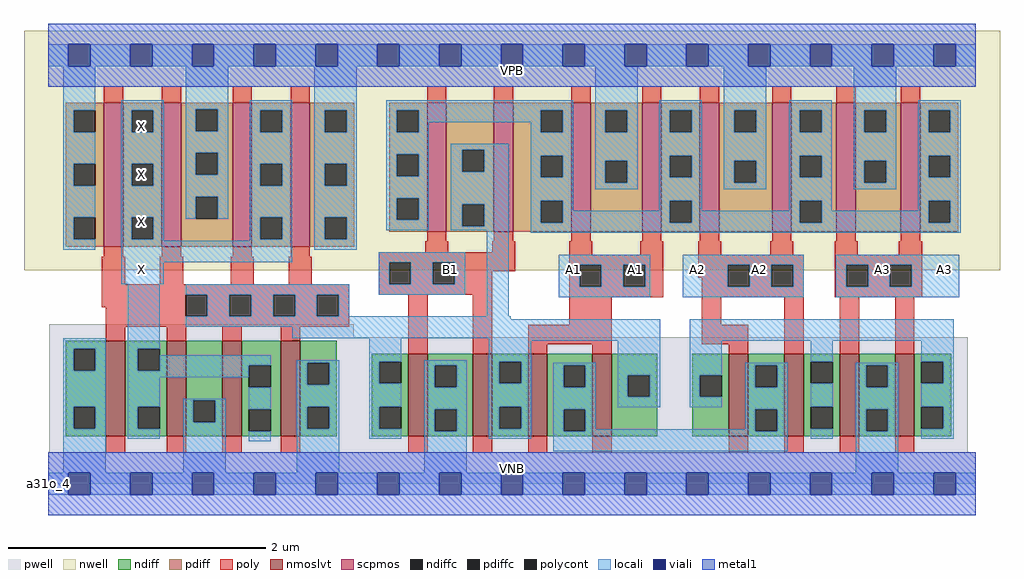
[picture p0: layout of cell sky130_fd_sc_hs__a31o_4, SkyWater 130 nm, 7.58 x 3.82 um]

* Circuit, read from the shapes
.subckt sky130_fd_sc_hs__a31o_4 A1 A2 A3 B1 VGND VNB VPB VPWR X
XM1 X n1 VGND VNB sky130_fd_pr__nfet_01v8_lvt w=0.74 l=0.15 m=4
XM2 VGND B1 n1 VNB sky130_fd_pr__nfet_01v8_lvt w=0.64 l=0.15 m=2
XM3 n2 A1 n1 VNB sky130_fd_pr__nfet_01v8_lvt w=0.64 l=0.15 m=2
XM4 n2 A2 n3 VNB sky130_fd_pr__nfet_01v8_lvt w=0.64 l=0.15 m=2
XM5 VGND A3 n3 VNB sky130_fd_pr__nfet_01v8_lvt w=0.64 l=0.15 m=2
XM6 X n1 VPWR VPB sky130_fd_pr__pfet_01v8 w=1.12 l=0.15 m=4
XM7 n1 B1 n4 VPB sky130_fd_pr__pfet_01v8 w=1 l=0.15 m=2
XM8 VPWR A1 n4 VPB sky130_fd_pr__pfet_01v8 w=1 l=0.15 m=2
XM9 VPWR A2 n4 VPB sky130_fd_pr__pfet_01v8 w=1 l=0.15 m=2
XM10 VPWR A3 n4 VPB sky130_fd_pr__pfet_01v8 w=1 l=0.15 m=2
.ends

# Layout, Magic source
magic
tech sky130A
magscale 1 2
<< nwell >>
rect -38 332 1478 704
<< pwell >>
rect 1 228 474 248
rect 1 49 1428 228
rect 0 0 1440 49
<< scpmos >>
rect 86 368 116 592
rect 176 368 206 592
rect 286 368 316 592
rect 376 368 406 592
rect 588 392 618 592
rect 692 392 722 592
rect 812 392 842 592
rect 922 392 952 592
rect 1012 392 1042 592
rect 1124 392 1154 592
rect 1224 392 1254 592
rect 1324 392 1354 592
<< nmoslvt >>
rect 89 74 119 222
rect 184 74 214 222
rect 270 74 300 222
rect 361 74 391 222
rect 559 74 589 202
rect 659 74 689 202
rect 745 74 775 202
rect 845 74 875 202
rect 1057 74 1087 202
rect 1143 74 1173 202
rect 1229 74 1259 202
rect 1315 74 1345 202
<< ndiff >>
rect 27 210 89 222
rect 27 176 39 210
rect 73 176 89 210
rect 27 120 89 176
rect 27 86 39 120
rect 73 86 89 120
rect 27 74 89 86
rect 119 210 184 222
rect 119 176 139 210
rect 173 176 184 210
rect 119 120 184 176
rect 119 86 139 120
rect 173 86 184 120
rect 119 74 184 86
rect 214 130 270 222
rect 214 96 225 130
rect 259 96 270 130
rect 214 74 270 96
rect 300 184 361 222
rect 300 150 311 184
rect 345 150 361 184
rect 300 116 361 150
rect 300 82 311 116
rect 345 82 361 116
rect 300 74 361 82
rect 391 188 448 222
rect 391 154 402 188
rect 436 154 448 188
rect 391 120 448 154
rect 391 86 402 120
rect 436 86 448 120
rect 391 74 448 86
rect 502 190 559 202
rect 502 156 514 190
rect 548 156 559 190
rect 502 120 559 156
rect 502 86 514 120
rect 548 86 559 120
rect 502 74 559 86
rect 589 184 659 202
rect 589 150 600 184
rect 634 150 659 184
rect 589 116 659 150
rect 589 82 600 116
rect 634 82 659 116
rect 589 74 659 82
rect 689 190 745 202
rect 689 156 700 190
rect 734 156 745 190
rect 689 120 745 156
rect 689 86 700 120
rect 734 86 745 120
rect 689 74 745 86
rect 775 184 845 202
rect 775 150 800 184
rect 834 150 845 184
rect 775 116 845 150
rect 775 82 800 116
rect 834 82 845 116
rect 775 74 845 82
rect 875 169 946 202
rect 875 135 900 169
rect 934 135 946 169
rect 875 74 946 135
rect 1000 169 1057 202
rect 1000 135 1012 169
rect 1046 135 1057 169
rect 1000 74 1057 135
rect 1087 184 1143 202
rect 1087 150 1098 184
rect 1132 150 1143 184
rect 1087 116 1143 150
rect 1087 82 1098 116
rect 1132 82 1143 116
rect 1087 74 1143 82
rect 1173 190 1229 202
rect 1173 156 1184 190
rect 1218 156 1229 190
rect 1173 120 1229 156
rect 1173 86 1184 120
rect 1218 86 1229 120
rect 1173 74 1229 86
rect 1259 184 1315 202
rect 1259 150 1270 184
rect 1304 150 1315 184
rect 1259 116 1315 150
rect 1259 82 1270 116
rect 1304 82 1315 116
rect 1259 74 1315 82
rect 1345 190 1402 202
rect 1345 156 1356 190
rect 1390 156 1402 190
rect 1345 120 1402 156
rect 1345 86 1356 120
rect 1390 86 1402 120
rect 1345 74 1402 86
<< pdiff >>
rect 27 580 86 592
rect 27 546 39 580
rect 73 546 86 580
rect 27 497 86 546
rect 27 463 39 497
rect 73 463 86 497
rect 27 414 86 463
rect 27 380 39 414
rect 73 380 86 414
rect 27 368 86 380
rect 116 580 176 592
rect 116 546 129 580
rect 163 546 176 580
rect 116 497 176 546
rect 116 463 129 497
rect 163 463 176 497
rect 116 414 176 463
rect 116 380 129 414
rect 163 380 176 414
rect 116 368 176 380
rect 206 582 286 592
rect 206 548 229 582
rect 263 548 286 582
rect 206 514 286 548
rect 206 480 229 514
rect 263 480 286 514
rect 206 446 286 480
rect 206 412 229 446
rect 263 412 286 446
rect 206 368 286 412
rect 316 580 376 592
rect 316 546 329 580
rect 363 546 376 580
rect 316 497 376 546
rect 316 463 329 497
rect 363 463 376 497
rect 316 414 376 463
rect 316 380 329 414
rect 363 380 376 414
rect 316 368 376 380
rect 406 580 475 592
rect 406 546 429 580
rect 463 546 475 580
rect 406 497 475 546
rect 406 463 429 497
rect 463 463 475 497
rect 406 414 475 463
rect 406 380 429 414
rect 463 380 475 414
rect 529 580 588 592
rect 529 546 541 580
rect 575 546 588 580
rect 529 512 588 546
rect 529 478 541 512
rect 575 478 588 512
rect 529 444 588 478
rect 529 410 541 444
rect 575 410 588 444
rect 529 392 588 410
rect 618 519 692 592
rect 618 485 643 519
rect 677 485 692 519
rect 618 434 692 485
rect 618 400 643 434
rect 677 400 692 434
rect 618 392 692 400
rect 722 580 812 592
rect 722 546 765 580
rect 799 546 812 580
rect 722 510 812 546
rect 722 476 765 510
rect 799 476 812 510
rect 722 440 812 476
rect 722 406 765 440
rect 799 406 812 440
rect 722 392 812 406
rect 842 580 922 592
rect 842 546 865 580
rect 899 546 922 580
rect 842 502 922 546
rect 842 468 865 502
rect 899 468 922 502
rect 842 392 922 468
rect 952 580 1012 592
rect 952 546 965 580
rect 999 546 1012 580
rect 952 510 1012 546
rect 952 476 965 510
rect 999 476 1012 510
rect 952 440 1012 476
rect 952 406 965 440
rect 999 406 1012 440
rect 952 392 1012 406
rect 1042 580 1124 592
rect 1042 546 1065 580
rect 1099 546 1124 580
rect 1042 502 1124 546
rect 1042 468 1065 502
rect 1099 468 1124 502
rect 1042 392 1124 468
rect 1154 580 1224 592
rect 1154 546 1167 580
rect 1201 546 1224 580
rect 1154 510 1224 546
rect 1154 476 1167 510
rect 1201 476 1224 510
rect 1154 440 1224 476
rect 1154 406 1167 440
rect 1201 406 1224 440
rect 1154 392 1224 406
rect 1254 580 1324 592
rect 1254 546 1267 580
rect 1301 546 1324 580
rect 1254 502 1324 546
rect 1254 468 1267 502
rect 1301 468 1324 502
rect 1254 392 1324 468
rect 1354 580 1413 592
rect 1354 546 1367 580
rect 1401 546 1413 580
rect 1354 510 1413 546
rect 1354 476 1367 510
rect 1401 476 1413 510
rect 1354 440 1413 476
rect 1354 406 1367 440
rect 1401 406 1413 440
rect 1354 392 1413 406
rect 406 368 475 380
<< ndiffc >>
rect 39 176 73 210
rect 39 86 73 120
rect 139 176 173 210
rect 139 86 173 120
rect 225 96 259 130
rect 311 150 345 184
rect 311 82 345 116
rect 402 154 436 188
rect 402 86 436 120
rect 514 156 548 190
rect 514 86 548 120
rect 600 150 634 184
rect 600 82 634 116
rect 700 156 734 190
rect 700 86 734 120
rect 800 150 834 184
rect 800 82 834 116
rect 900 135 934 169
rect 1012 135 1046 169
rect 1098 150 1132 184
rect 1098 82 1132 116
rect 1184 156 1218 190
rect 1184 86 1218 120
rect 1270 150 1304 184
rect 1270 82 1304 116
rect 1356 156 1390 190
rect 1356 86 1390 120
<< pdiffc >>
rect 39 546 73 580
rect 39 463 73 497
rect 39 380 73 414
rect 129 546 163 580
rect 129 463 163 497
rect 129 380 163 414
rect 229 548 263 582
rect 229 480 263 514
rect 229 412 263 446
rect 329 546 363 580
rect 329 463 363 497
rect 329 380 363 414
rect 429 546 463 580
rect 429 463 463 497
rect 429 380 463 414
rect 541 546 575 580
rect 541 478 575 512
rect 541 410 575 444
rect 643 485 677 519
rect 643 400 677 434
rect 765 546 799 580
rect 765 476 799 510
rect 765 406 799 440
rect 865 546 899 580
rect 865 468 899 502
rect 965 546 999 580
rect 965 476 999 510
rect 965 406 999 440
rect 1065 546 1099 580
rect 1065 468 1099 502
rect 1167 546 1201 580
rect 1167 476 1201 510
rect 1167 406 1201 440
rect 1267 546 1301 580
rect 1267 468 1301 502
rect 1367 546 1401 580
rect 1367 476 1401 510
rect 1367 406 1401 440
<< poly >>
rect 86 592 116 618
rect 176 592 206 618
rect 286 592 316 618
rect 376 592 406 618
rect 588 592 618 618
rect 692 592 722 618
rect 812 592 842 618
rect 922 592 952 618
rect 1012 592 1042 618
rect 1124 592 1154 618
rect 1224 592 1254 618
rect 1324 592 1354 618
rect 588 377 618 392
rect 692 377 722 392
rect 812 377 842 392
rect 922 377 952 392
rect 1012 377 1042 392
rect 1124 377 1154 392
rect 1224 377 1254 392
rect 1324 377 1354 392
rect 86 353 116 368
rect 176 353 206 368
rect 286 353 316 368
rect 376 353 406 368
rect 585 360 621 377
rect 689 360 725 377
rect 83 310 119 353
rect 173 310 209 353
rect 283 310 319 353
rect 373 310 409 353
rect 513 344 725 360
rect 513 310 529 344
rect 563 310 597 344
rect 631 330 725 344
rect 809 356 845 377
rect 919 356 955 377
rect 809 340 955 356
rect 631 310 689 330
rect 83 294 467 310
rect 513 294 689 310
rect 83 274 213 294
rect 89 260 213 274
rect 247 260 281 294
rect 315 260 349 294
rect 383 260 417 294
rect 451 260 467 294
rect 89 244 467 260
rect 89 222 119 244
rect 184 222 214 244
rect 270 222 300 244
rect 361 222 391 244
rect 559 202 589 294
rect 659 202 689 294
rect 809 306 825 340
rect 859 306 893 340
rect 927 306 955 340
rect 1009 356 1045 377
rect 1121 356 1157 377
rect 1221 356 1257 377
rect 1321 356 1357 377
rect 1009 340 1173 356
rect 1009 320 1055 340
rect 809 290 955 306
rect 1015 306 1055 320
rect 1089 306 1123 340
rect 1157 306 1173 340
rect 1015 290 1173 306
rect 1221 340 1357 356
rect 1221 306 1239 340
rect 1273 306 1307 340
rect 1341 306 1357 340
rect 1221 290 1357 306
rect 809 247 875 290
rect 745 217 875 247
rect 1015 247 1045 290
rect 1015 217 1087 247
rect 745 202 775 217
rect 845 202 875 217
rect 1057 202 1087 217
rect 1143 202 1173 290
rect 1229 202 1259 290
rect 1315 202 1345 290
rect 89 48 119 74
rect 184 48 214 74
rect 270 48 300 74
rect 361 48 391 74
rect 559 48 589 74
rect 659 48 689 74
rect 745 48 775 74
rect 845 48 875 74
rect 1057 48 1087 74
rect 1143 48 1173 74
rect 1229 48 1259 74
rect 1315 48 1345 74
<< polycont >>
rect 529 310 563 344
rect 597 310 631 344
rect 213 260 247 294
rect 281 260 315 294
rect 349 260 383 294
rect 417 260 451 294
rect 825 306 859 340
rect 893 306 927 340
rect 1055 306 1089 340
rect 1123 306 1157 340
rect 1239 306 1273 340
rect 1307 306 1341 340
<< locali >>
rect 0 649 31 683
rect 65 649 127 683
rect 161 649 223 683
rect 257 649 319 683
rect 353 649 415 683
rect 449 649 511 683
rect 545 649 607 683
rect 641 649 703 683
rect 737 649 799 683
rect 833 649 895 683
rect 929 649 991 683
rect 1025 649 1087 683
rect 1121 649 1183 683
rect 1217 649 1279 683
rect 1313 649 1375 683
rect 1409 649 1440 683
rect 23 580 73 649
rect 23 546 39 580
rect 23 497 73 546
rect 23 463 39 497
rect 23 414 73 463
rect 23 380 39 414
rect 23 364 73 380
rect 113 580 179 596
rect 113 546 129 580
rect 163 546 179 580
rect 113 497 179 546
rect 113 463 129 497
rect 163 463 179 497
rect 113 414 179 463
rect 113 380 129 414
rect 163 380 179 414
rect 213 582 279 649
rect 213 548 229 582
rect 263 548 279 582
rect 213 514 279 548
rect 213 480 229 514
rect 263 480 279 514
rect 213 446 279 480
rect 213 412 229 446
rect 263 412 279 446
rect 313 580 379 596
rect 313 546 329 580
rect 363 546 379 580
rect 313 497 379 546
rect 313 463 329 497
rect 363 463 379 497
rect 313 414 379 463
rect 113 378 179 380
rect 313 380 329 414
rect 363 380 379 414
rect 313 378 379 380
rect 113 344 379 378
rect 413 580 479 649
rect 413 546 429 580
rect 463 546 479 580
rect 413 497 479 546
rect 413 463 429 497
rect 463 463 479 497
rect 413 414 479 463
rect 413 380 429 414
rect 463 380 479 414
rect 525 580 815 596
rect 525 546 541 580
rect 575 562 765 580
rect 575 546 591 562
rect 525 512 591 546
rect 749 546 765 562
rect 799 546 815 580
rect 525 478 541 512
rect 575 478 591 512
rect 525 444 591 478
rect 525 410 541 444
rect 575 410 591 444
rect 525 394 591 410
rect 625 519 715 528
rect 625 485 643 519
rect 677 485 715 519
rect 625 434 715 485
rect 625 400 643 434
rect 677 400 715 434
rect 625 394 715 400
rect 413 364 479 380
rect 513 344 647 360
rect 113 310 179 344
rect 513 310 529 344
rect 563 310 597 344
rect 631 310 647 344
rect 23 210 89 226
rect 23 176 39 210
rect 73 176 89 210
rect 23 120 89 176
rect 23 86 39 120
rect 73 86 89 120
rect 23 17 89 86
rect 123 210 173 310
rect 213 294 467 310
rect 513 294 647 310
rect 247 260 281 294
rect 315 260 349 294
rect 383 260 417 294
rect 451 260 467 294
rect 681 260 715 394
rect 749 510 815 546
rect 749 476 765 510
rect 799 476 815 510
rect 749 440 815 476
rect 849 580 915 649
rect 849 546 865 580
rect 899 546 915 580
rect 849 502 915 546
rect 849 468 865 502
rect 899 468 915 502
rect 849 458 915 468
rect 949 580 1015 596
rect 949 546 965 580
rect 999 546 1015 580
rect 949 510 1015 546
rect 949 476 965 510
rect 999 476 1015 510
rect 749 406 765 440
rect 799 424 815 440
rect 949 440 1015 476
rect 1049 580 1115 649
rect 1049 546 1065 580
rect 1099 546 1115 580
rect 1049 502 1115 546
rect 1049 468 1065 502
rect 1099 468 1115 502
rect 1049 458 1115 468
rect 1151 580 1217 596
rect 1151 546 1167 580
rect 1201 546 1217 580
rect 1151 510 1217 546
rect 1151 476 1167 510
rect 1201 476 1217 510
rect 949 424 965 440
rect 799 406 965 424
rect 999 424 1015 440
rect 1151 440 1217 476
rect 1251 580 1317 649
rect 1251 546 1267 580
rect 1301 546 1317 580
rect 1251 502 1317 546
rect 1251 468 1267 502
rect 1301 468 1317 502
rect 1251 458 1317 468
rect 1351 580 1417 596
rect 1351 546 1367 580
rect 1401 546 1417 580
rect 1351 510 1417 546
rect 1351 476 1367 510
rect 1401 476 1417 510
rect 1151 424 1167 440
rect 999 406 1167 424
rect 1201 424 1217 440
rect 1351 440 1417 476
rect 1351 424 1367 440
rect 1201 406 1367 424
rect 1401 406 1417 440
rect 749 390 1417 406
rect 793 340 935 356
rect 793 306 825 340
rect 859 306 893 340
rect 927 306 935 340
rect 793 290 935 306
rect 985 340 1173 356
rect 985 306 1055 340
rect 1089 306 1123 340
rect 1157 306 1173 340
rect 985 290 1173 306
rect 1223 340 1415 356
rect 1223 306 1239 340
rect 1273 306 1307 340
rect 1341 306 1415 340
rect 1223 290 1415 306
rect 213 256 718 260
rect 213 244 950 256
rect 379 226 950 244
rect 123 176 139 210
rect 173 184 345 200
rect 173 176 311 184
rect 123 166 311 176
rect 123 120 173 166
rect 123 86 139 120
rect 123 70 173 86
rect 209 130 275 132
rect 209 96 225 130
rect 259 96 275 130
rect 209 17 275 96
rect 311 116 345 150
rect 311 66 345 82
rect 386 188 452 192
rect 386 154 402 188
rect 436 154 452 188
rect 386 120 452 154
rect 386 86 402 120
rect 436 86 452 120
rect 386 17 452 86
rect 498 190 548 226
rect 684 222 950 226
rect 498 156 514 190
rect 498 120 548 156
rect 498 86 514 120
rect 498 70 548 86
rect 584 184 650 192
rect 584 150 600 184
rect 634 150 650 184
rect 584 116 650 150
rect 584 82 600 116
rect 634 82 650 116
rect 584 17 650 82
rect 684 190 750 222
rect 684 156 700 190
rect 734 156 750 190
rect 684 120 750 156
rect 684 86 700 120
rect 734 86 750 120
rect 684 70 750 86
rect 784 184 850 188
rect 784 150 800 184
rect 834 150 850 184
rect 784 116 850 150
rect 884 169 950 222
rect 884 135 900 169
rect 934 135 950 169
rect 884 119 950 135
rect 996 222 1406 256
rect 996 169 1046 222
rect 1184 190 1218 222
rect 996 135 1012 169
rect 996 119 1046 135
rect 1082 184 1148 188
rect 1082 150 1098 184
rect 1132 150 1148 184
rect 784 82 800 116
rect 834 85 850 116
rect 1082 116 1148 150
rect 1082 85 1098 116
rect 834 82 1098 85
rect 1132 82 1148 116
rect 784 51 1148 82
rect 1356 190 1406 222
rect 1184 120 1218 156
rect 1184 70 1218 86
rect 1254 184 1320 188
rect 1254 150 1270 184
rect 1304 150 1320 184
rect 1254 116 1320 150
rect 1254 82 1270 116
rect 1304 82 1320 116
rect 1254 17 1320 82
rect 1390 156 1406 190
rect 1356 120 1406 156
rect 1390 86 1406 120
rect 1356 70 1406 86
rect 0 -17 31 17
rect 65 -17 127 17
rect 161 -17 223 17
rect 257 -17 319 17
rect 353 -17 415 17
rect 449 -17 511 17
rect 545 -17 607 17
rect 641 -17 703 17
rect 737 -17 799 17
rect 833 -17 895 17
rect 929 -17 991 17
rect 1025 -17 1087 17
rect 1121 -17 1183 17
rect 1217 -17 1279 17
rect 1313 -17 1375 17
rect 1409 -17 1440 17
<< viali >>
rect 31 649 65 683
rect 127 649 161 683
rect 223 649 257 683
rect 319 649 353 683
rect 415 649 449 683
rect 511 649 545 683
rect 607 649 641 683
rect 703 649 737 683
rect 799 649 833 683
rect 895 649 929 683
rect 991 649 1025 683
rect 1087 649 1121 683
rect 1183 649 1217 683
rect 1279 649 1313 683
rect 1375 649 1409 683
rect 31 -17 65 17
rect 127 -17 161 17
rect 223 -17 257 17
rect 319 -17 353 17
rect 415 -17 449 17
rect 511 -17 545 17
rect 607 -17 641 17
rect 703 -17 737 17
rect 799 -17 833 17
rect 895 -17 929 17
rect 991 -17 1025 17
rect 1087 -17 1121 17
rect 1183 -17 1217 17
rect 1279 -17 1313 17
rect 1375 -17 1409 17
<< metal1 >>
rect 0 683 1440 715
rect 0 649 31 683
rect 65 649 127 683
rect 161 649 223 683
rect 257 649 319 683
rect 353 649 415 683
rect 449 649 511 683
rect 545 649 607 683
rect 641 649 703 683
rect 737 649 799 683
rect 833 649 895 683
rect 929 649 991 683
rect 1025 649 1087 683
rect 1121 649 1183 683
rect 1217 649 1279 683
rect 1313 649 1375 683
rect 1409 649 1440 683
rect 0 617 1440 649
rect 0 17 1440 49
rect 0 -17 31 17
rect 65 -17 127 17
rect 161 -17 223 17
rect 257 -17 319 17
rect 353 -17 415 17
rect 449 -17 511 17
rect 545 -17 607 17
rect 641 -17 703 17
rect 737 -17 799 17
rect 833 -17 895 17
rect 929 -17 991 17
rect 1025 -17 1087 17
rect 1121 -17 1183 17
rect 1217 -17 1279 17
rect 1313 -17 1375 17
rect 1409 -17 1440 17
rect 0 -49 1440 -17
<< labels >>
rlabel comment s 0 0 0 0 4 a31o_4
flabel pwell s 0 0 1440 49 0 FreeSans 200 0 0 0 VNB
port 6 nsew ground bidirectional
flabel nwell s 0 617 1440 666 0 FreeSans 200 0 0 0 VPB
port 7 nsew power bidirectional
flabel metal1 s 0 617 1440 666 0 FreeSans 340 0 0 0 VPWR
port 8 nsew power bidirectional
flabel metal1 s 0 0 1440 49 0 FreeSans 340 0 0 0 VGND
port 5 nsew ground bidirectional
flabel locali s 799 316 833 350 0 FreeSans 340 0 0 0 A1
port 1 nsew signal input
flabel locali s 895 316 929 350 0 FreeSans 340 0 0 0 A1
port 1 nsew signal input
flabel locali s 991 316 1025 350 0 FreeSans 340 0 0 0 A2
port 2 nsew signal input
flabel locali s 1087 316 1121 350 0 FreeSans 340 0 0 0 A2
port 2 nsew signal input
flabel locali s 1279 316 1313 350 0 FreeSans 340 0 0 0 A3
port 3 nsew signal input
flabel locali s 1375 316 1409 350 0 FreeSans 340 0 0 0 A3
port 3 nsew signal input
flabel locali s 607 316 641 350 0 FreeSans 340 0 0 0 B1
port 4 nsew signal input
flabel locali s 127 316 161 350 0 FreeSans 340 0 0 0 X
port 9 nsew signal output
flabel locali s 127 390 161 424 0 FreeSans 340 0 0 0 X
port 9 nsew signal output
flabel locali s 127 464 161 498 0 FreeSans 340 0 0 0 X
port 9 nsew signal output
flabel locali s 127 538 161 572 0 FreeSans 340 0 0 0 X
port 9 nsew signal output
<< properties >>
string LEFsite unit
string LEFclass CORE
string FIXED_BBOX 0 0 1440 666
string GDS_FILE $PDKPATH/libs.ref/sky130_fd_sc_hs/gds/sky130_fd_sc_hs.gds
string LEFsymmetry X Y
string GDS_END 1529830
string GDS_START 1516992
<< end >>
